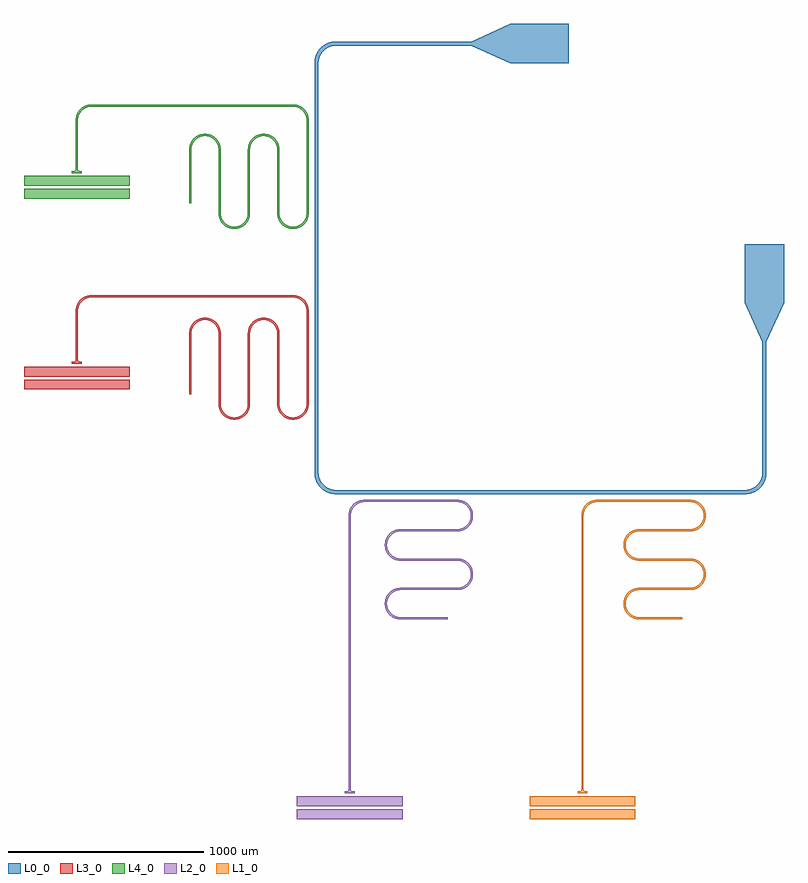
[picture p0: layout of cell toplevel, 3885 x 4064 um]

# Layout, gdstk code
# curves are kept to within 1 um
import gdstk
lib = gdstk.Library(unit=1e-6, precision=1e-09)
def R(c, l, rs):  # rectangles x0, y0, x1, y1
    for r in rs: c.add(gdstk.rectangle(r[:2], r[2:], *l))
def P(c, l, *ps):  # polygons
    for p in ps: c.add(gdstk.Polygon(p, *l))
L0_0 = (0, 0)
L1_0 = (1, 0)
L2_0 = (2, 0)
L3_0 = (3, 0)
L4_0 = (4, 0)

toplevel = lib.new_cell('toplevel')
P(toplevel, L0_0, [(1940,-167.978),(1938.328,-185.268),(1933.374,-201.893),(1925.322,-217.26),(1914.472,-230.796),(1901.226,-241.999),(1886.076,-250.453),(1869.587,-255.843),(1852.369,-257.969),(-240.79,-257.996),(-258.042,-256.173),(-273.894,-251.374),(-289.26,-243.322),(-302.228,-233.02),(-313.547,-219.873),(-322.453,-204.076),(-328.011,-186.815),(-329.996,-168.79),(-329.996,1925.79),(-327.297,1946.892),(-319.349,1967.469),(-306.102,1986.077),(-288.597,2000.751),(-267.962,2010.546),(-245.525,2014.83),(450,2015),(650,1925),(950,1925),(950,2125),(650,2125),(450,2035),(-244.825,2034.894),(-265.82,2031.927),(-285.855,2024.987),(-303.401,2014.891),(-319.469,2001.057),(-332.061,1985.207),(-341.902,1966.425),(-347.767,1947.051),(-349.983,1926.93),(-350,-168.022),(-347.767,-190.051),(-341.159,-211.207),(-330.444,-230.609),(-316.057,-247.469),(-300.207,-260.061),(-281.425,-269.902),(-262.051,-275.767),(-240.965,-277.996),(1850.965,-277.996),(1879.556,-273.955),(1905.278,-263.102),(1926.057,-247.469),(1942.061,-228.207),(1953.621,-204.916),(1959.285,-180.522),(1960,500),(2050,700),(2050,1000),(1850,1000),(1850,700),(1940,500)])
R(toplevel, L1_0, [(750,-1939,1290,-1889), (750,-1873,1290,-1823)])
P(toplevel, L1_0, [(1045,-1798),(1030.484,-1796.998),(1026.483,-1793.384),(1025,-1788.2),(1025,-388.011),(1026.075,-375.777),(1029.482,-363.354),(1039.621,-345.184),(1054.154,-331.153),(1072.088,-321.856),(1092.543,-318.043),(1573.062,-318.067),(1586.981,-320.091),(1600.214,-324.856),(1612.227,-332.171),(1622.129,-341.282),(1631.617,-354.783),(1637.68,-370.129),(1639.967,-385.856),(1638.525,-402.294),(1633.535,-417.383),(1624.891,-431.439),(1613.198,-443.081),(1599.66,-451.405),(1585.79,-456.196),(1571.838,-457.976),(1309.3,-458.003),(1294.007,-459.615),(1271.73,-467.747),(1252.329,-482.556),(1238.608,-501.899),(1231.046,-525.105),(1230.019,-539.75),(1231.546,-553.65),(1235.469,-567.072),(1242.037,-580.202),(1250.893,-591.911),(1261.183,-601.379),(1272.965,-608.912),(1286.547,-614.485),(1308.6,-617.988),(1576.118,-618.268),(1589.935,-620.899),(1603.486,-626.529),(1615.566,-634.861),(1625.643,-645.529),(1633.789,-659.174),(1638.647,-674.306),(1639.967,-690.144),(1637.68,-705.871),(1631.905,-720.676),(1622.939,-733.798),(1611.244,-744.559),(1597.423,-752.405),(1584.594,-756.462),(1571.838,-757.976),(1297.451,-758.99),(1276.738,-765.243),(1258.458,-776.816),(1244.345,-792.289),(1234.497,-811.554),(1230.832,-826.489),(1230.129,-842.548),(1232.475,-857.746),(1237.686,-872.214),(1245.985,-885.98),(1256.348,-897.342),(1268.694,-906.511),(1282.565,-913.149),(1295.381,-916.653),(1308.6,-917.988),(1530,-918),(1530,-908),(1308.775,-907.989),(1285.995,-903.755),(1273.334,-897.629),(1262.602,-889.512),(1253.261,-878.996),(1246.465,-867.383),(1242.017,-854.683),(1240.054,-840.756),(1240.915,-826.717),(1244.35,-813.707),(1252.904,-797.502),(1265.844,-783.683),(1281.454,-774.085),(1299.625,-768.773),(1572.1,-767.972),(1587.363,-766.093),(1602.624,-761.046),(1618.26,-751.804),(1631.408,-739.274),(1641.073,-724.724),(1647.525,-707.746),(1649.981,-689.75),(1648.454,-672.35),(1643.188,-655.696),(1634.015,-640.02),(1622.605,-627.728),(1609.494,-618.428),(1594.121,-611.723),(1577.689,-608.37),(1309.387,-607.997),(1291.242,-605.44),(1279.786,-601.144),(1269.252,-594.918),(1259.964,-586.953),(1252.204,-577.493),(1246.211,-566.826),(1242.017,-554.683),(1240.151,-542.591),(1240.418,-530.358),(1246.465,-508.617),(1258.696,-490.377),(1275.977,-476.825),(1296.607,-469.293),(1309.387,-468.003),(1573.499,-467.923),(1593.453,-464.485),(1611.306,-456.511),(1628.633,-442.426),(1641.391,-424.101),(1648.588,-402.963),(1649.663,-380.659),(1644.531,-358.928),(1633.592,-339.461),(1617.7,-323.776),(1598.091,-313.094),(1584.619,-309.347),(1570.7,-308.003),(1088.688,-308.249),(1066.178,-313.372),(1046.625,-324.283),(1030.861,-340.186),(1020.122,-359.834),(1016.354,-373.341),(1015,-387.989),(1015,-1788.2),(1013.517,-1793.384),(1009.516,-1796.998),(995,-1798),(995,-1808),(1045,-1808)])
R(toplevel, L2_0, [(-440,-1939,100,-1889), (-440,-1873,100,-1823)])
P(toplevel, L2_0, [(-145,-1798),(-159.516,-1796.998),(-163.517,-1793.384),(-165,-1788.2),(-165,-388.011),(-163.925,-375.777),(-160.518,-363.354),(-150.752,-345.672),(-135.846,-331.153),(-117.912,-321.856),(-97.457,-318.043),(383.062,-318.067),(396.981,-320.091),(410.214,-324.856),(422.228,-332.171),(432.536,-341.74),(441.905,-355.324),(447.834,-370.722),(449.994,-387.081),(448.397,-402.893),(443.011,-418.49),(434.123,-432.393),(422.228,-443.829),(407.986,-452.162),(395.192,-456.331),(381.837,-457.976),(89.989,-458),(76.07,-459.222),(52.965,-467.088),(33.804,-481.061),(19.251,-500.655),(11.284,-523.725),(10.001,-538.35),(11.412,-552.963),(15.469,-567.072),(22.037,-580.202),(30.893,-591.911),(41.74,-601.804),(54.212,-609.549),(67.889,-614.884),(89.3,-617.997),(385.507,-618.217),(399.347,-620.727),(412.947,-626.238),(424.629,-634.072),(434.509,-644.083),(443.275,-658.062),(448.525,-673.706),(449.967,-690.144),(447.68,-705.871),(441.617,-721.217),(432.536,-734.26),(420.248,-745.272),(405.723,-753.102),(393.393,-756.707),(381.225,-757.989),(78.835,-758.783),(58.016,-764.672),(40.082,-775.485),(25.155,-791.147),(15.218,-809.581),(11.046,-825.105),(10.037,-840.45),(12.141,-856.386),(17.389,-871.58),(25.568,-885.418),(36.348,-897.342),(49.295,-906.87),(63.885,-913.617),(88.6,-917.988),(330,-918),(330,-908),(88.775,-907.989),(67.149,-904.165),(54.383,-898.261),(43.055,-889.924),(33.622,-879.491),(26.465,-867.383),(21.874,-854.088),(20.033,-840.144),(21.123,-825.51),(25.011,-811.992),(33.987,-796.017),(46.802,-782.919),(62.577,-773.595),(80.838,-768.602),(381.4,-767.988),(396.679,-766.242),(410.695,-761.877),(426.569,-753.049),(440.502,-740.341),(450.749,-725.345),(457.525,-707.746),(459.981,-689.75),(458.168,-670.979),(452.314,-653.786),(442.733,-638.356),(431.542,-626.816),(418.27,-617.747),(403.453,-611.515),(386.992,-608.306),(89.387,-607.997),(72.426,-605.758),(60.896,-601.663),(49.752,-595.272),(40.394,-587.389),(32.204,-577.493),(26.211,-566.826),(22.017,-554.683),(20.113,-541.98),(20.563,-529.142),(26.725,-508.062),(39.115,-489.93),(57.053,-476.238),(77.811,-469.069),(90.011,-468),(382.8,-467.951),(401.437,-465.074),(418.883,-457.915),(436.692,-444.445),(450.419,-425.962),(458.168,-405.021),(459.779,-382.055),(454.782,-359.581),(444.015,-340.02),(427.7,-323.776),(408.091,-313.094),(394.619,-309.347),(380.7,-308.003),(-101.312,-308.249),(-123.822,-313.372),(-143.375,-324.283),(-159.139,-340.186),(-169.878,-359.834),(-173.771,-374.031),(-175,-387.989),(-175,-1788.2),(-176.483,-1793.384),(-180.484,-1796.998),(-195,-1798),(-195,-1808),(-145,-1808)])
R(toplevel, L3_0, [(-1835,257,-1295,307), (-1835,323,-1295,373)])
P(toplevel, L3_0, [(-758.95,103.007),(-746.415,104.162),(-733.554,107.497),(-711.461,119.408),(-701.606,128.318),(-693.751,138.155),(-687.536,149.102),(-682.926,161.563),(-680.003,182.3),(-679.315,552.769),(-672.329,574.861),(-658.953,593.036),(-639.937,606.275),(-617.642,612.582),(-604.187,612.758),(-591.538,610.521),(-579.51,606.011),(-568.017,599.013),(-558.488,590.398),(-550.694,580.187),(-544.675,568.152),(-541.179,555.792),(-540,542.989),(-539.988,181.6),(-537.777,164.273),(-531.859,147.839),(-519.809,129.87),(-503.385,115.786),(-483.787,106.618),(-462.45,103.037),(-440.933,105.305),(-420.202,113.601),(-403.061,126.804),(-390.085,144.117),(-382.741,162.238),(-380.012,181.6),(-380.049,660.808),(-382.576,678.14),(-388.815,694.507),(-398.917,709.662),(-411.625,721.717),(-433.814,733.593),(-458.596,737.988),(-1491.404,737.988),(-1509.46,735.597),(-1526.507,729.185),(-1541.662,719.083),(-1553.717,706.375),(-1565.122,685.508),(-1569.889,662.21),(-1570.05,406.809),(-1572.05,401.801),(-1575.935,398.794),(-1590,398),(-1590,388),(-1540,388),(-1540,398),(-1554.516,399.002),(-1558.517,402.616),(-1559.987,407.304),(-1560,665),(-1554.374,685.496),(-1543.447,703.204),(-1527.798,716.918),(-1509.4,725.258),(-1489.989,728),(-459.386,727.997),(-437.088,724.144),(-417.672,713.752),(-406.553,703.204),(-397.996,690.489),(-392.574,676.809),(-390.097,661.684),(-390.067,179.938),(-394.675,157.848),(-406.072,138.371),(-423.073,123.532),(-443.912,114.874),(-457.244,113.054),(-471.283,113.915),(-484.293,117.35),(-496.927,123.532),(-507.623,131.696),(-516.918,142.252),(-523.663,153.896),(-528.196,167.21),(-529.997,182.387),(-530.196,548.596),(-532.741,563.762),(-538.451,578.788),(-547.05,592.369),(-557.659,603.502),(-573.276,614.073),(-590.933,620.695),(-609.65,622.999),(-628.386,620.859),(-646.724,614.073),(-662.341,603.502),(-675.049,589.569),(-684.143,573.048),(-688.385,558.993),(-689.988,544.4),(-690.867,172.019),(-693.637,160.729),(-698.529,149.514),(-705.299,139.321),(-713.282,130.871),(-723.073,123.532),(-733.424,118.241),(-745.107,114.603),(-756.632,113.081),(-769.466,113.643),(-781.398,116.351),(-793.217,121.383),(-803.439,128.108),(-812.333,136.511),(-819.947,146.857),(-825.542,158.42),(-828.931,170.811),(-830,183.011),(-830.027,545.1),(-832.223,561.727),(-837.836,577.53),(-849.728,595.605),(-866.028,609.832),(-885.545,619.171),(-907.55,622.962),(-929.067,620.695),(-949.189,612.744),(-966.939,599.196),(-979.915,581.883),(-987.259,563.762),(-989.972,545.1),(-990,233),(-980,233),(-979.997,543.613),(-976.924,563.521),(-970.571,578.088),(-961.512,590.398),(-949.493,600.796),(-936.008,607.989),(-921.283,612.085),(-905.409,612.849),(-889.772,610.014),(-875.71,604.026),(-862.377,594.304),(-851.354,581.219),(-843.835,565.851),(-840.268,549.118),(-839.997,182.3),(-837.938,164.955),(-833.877,152.304),(-827.778,140.501),(-819.342,129.348),(-809.644,120.267),(-798.577,112.916),(-785.784,107.269),(-772.203,103.936)])
R(toplevel, L4_0, [(-1835,1232,-1295,1282), (-1835,1298,-1295,1348)])
P(toplevel, L4_0, [(-758.95,1078.007),(-734.216,1082.269),(-712.02,1093.985),(-694.546,1112.002),(-688.141,1122.839),(-683.313,1135.217),(-680.003,1157.3),(-679.133,1493.981),(-671.761,1515.947),(-658.07,1533.885),(-639.383,1546.535),(-617.642,1552.582),(-604.798,1552.806),(-592.129,1550.68),(-580.062,1546.275),(-569.004,1539.739),(-559.326,1531.292),(-551.354,1521.219),(-545.125,1509.292),(-541.413,1496.994),(-540,1482.989),(-539.972,1155.9),(-537.438,1137.915),(-530.912,1120.965),(-518.394,1103.318),(-501.606,1089.67),(-481.774,1081.02),(-461.05,1078.007),(-439.576,1080.651),(-419.596,1088.952),(-403.061,1101.804),(-390.085,1119.117),(-382.741,1137.238),(-380.012,1156.6),(-380.049,1635.808),(-382.576,1653.14),(-388.815,1669.507),(-398.917,1684.662),(-411.625,1696.717),(-433.814,1708.593),(-458.596,1712.988),(-1491.404,1712.988),(-1509.46,1710.597),(-1526.507,1704.185),(-1541.662,1694.083),(-1553.717,1681.375),(-1565.122,1660.508),(-1569.889,1637.21),(-1570.05,1381.809),(-1572.05,1376.801),(-1575.935,1373.794),(-1590,1373),(-1590,1363),(-1540,1363),(-1540,1373),(-1554.516,1374.002),(-1558.517,1377.616),(-1559.987,1382.304),(-1560,1640),(-1554.374,1660.496),(-1543.447,1678.204),(-1527.798,1691.918),(-1509.4,1700.258),(-1489.989,1703),(-459.386,1702.997),(-437.088,1699.144),(-417.672,1688.752),(-406.553,1678.204),(-397.996,1665.489),(-392.574,1651.809),(-390.097,1636.684),(-390.043,1155.55),(-394.037,1134.571),(-404.543,1115.286),(-420.507,1100.204),(-439.772,1090.986),(-453.577,1088.295),(-467.642,1088.418),(-480.814,1091.166),(-493.755,1096.676),(-505.333,1104.662),(-515.081,1114.802),(-522.605,1126.686),(-527.601,1139.833),(-529.997,1157.387),(-530.248,1489.294),(-533.116,1505.111),(-539.415,1520.654),(-548.816,1534.542),(-560.356,1545.733),(-575.786,1555.314),(-592.979,1561.168),(-611.75,1562.981),(-629.746,1560.525),(-647.345,1553.749),(-662.341,1543.502),(-674.639,1530.136),(-683.605,1514.341),(-688.242,1499.679),(-689.988,1484.4),(-690.965,1146.415),(-698.529,1124.514),(-704.919,1114.802),(-713.282,1105.871),(-723.073,1098.532),(-733.424,1093.241),(-756.02,1088.113),(-768.25,1088.488),(-780.814,1091.166),(-792.134,1095.811),(-802.957,1102.73),(-812.333,1111.511),(-819.629,1121.334),(-825.325,1132.848),(-828.707,1144.607),(-830,1158.011),(-830.027,1485.1),(-832.562,1503.085),(-839.088,1520.035),(-851.606,1537.682),(-868.394,1551.33),(-888.226,1559.98),(-908.95,1562.993),(-929.746,1560.525),(-949.798,1552.398),(-966.939,1539.196),(-979.915,1521.883),(-987.074,1504.437),(-989.951,1485.8),(-990,1208),(-980,1208),(-979.997,1483.613),(-976.363,1505.271),(-969.947,1519.143),(-960.674,1531.292),(-948.985,1541.139),(-935.438,1548.214),(-920.678,1552.181),(-905.409,1552.849),(-890.359,1550.188),(-875.71,1544.026),(-862.377,1534.304),(-851.354,1521.219),(-844.037,1506.429),(-840.324,1489.728),(-839.997,1157.3),(-837.61,1138.593),(-833.328,1126.016),(-827.024,1114.321),(-818.394,1103.318),(-808.539,1094.408),(-797.345,1087.251),(-785.12,1082.046),(-772.203,1078.936)])

lib.write_gds('toplevel.gds')
